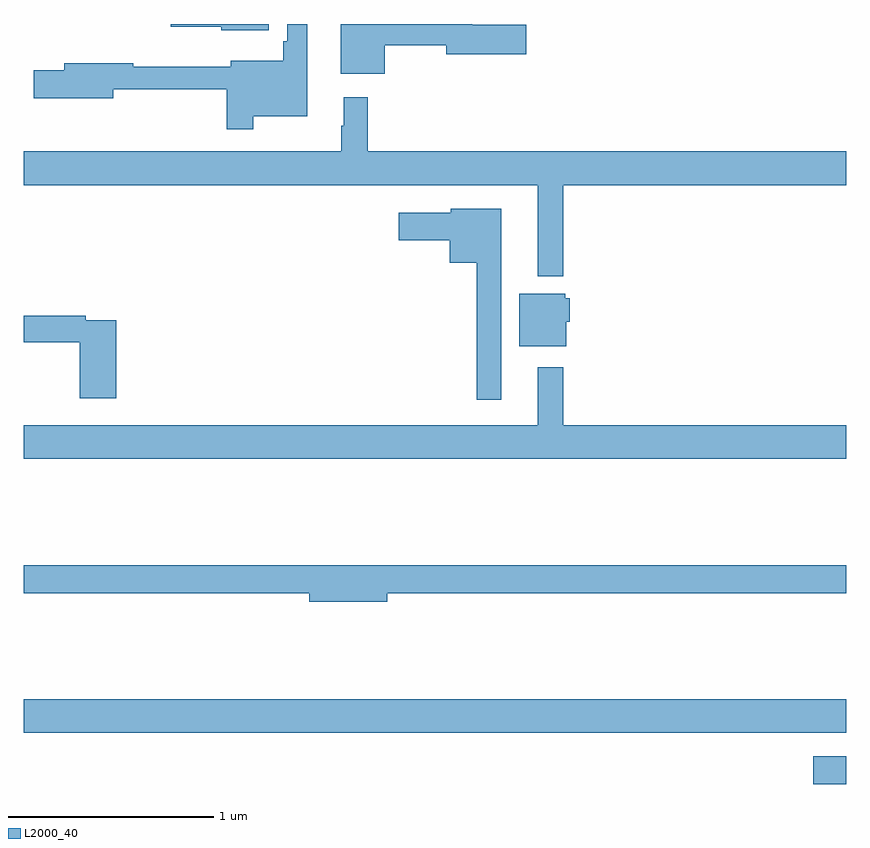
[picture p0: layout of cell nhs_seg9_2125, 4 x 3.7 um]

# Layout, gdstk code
import gdstk
lib = gdstk.Library(unit=1e-6, precision=1e-09)
def R(c, l, rs):  # rectangles x0, y0, x1, y1
    for r in rs: c.add(gdstk.rectangle(r[:2], r[2:], *l))
def P(c, l, *ps):  # polygons
    for p in ps: c.add(gdstk.Polygon(p, *l))
L2000_40 = (2000, 40)

nhs_seg9_2125 = lib.new_cell('nhs_seg9_2125')
R(nhs_seg9_2125, L2000_40, [(234.84,1230.803,235,1230.937), (231,1231.052,235,1231.216)])
P(nhs_seg9_2125, L2000_40, [(232.756,1234.396),(233.054,1234.396),(233.054,1234.354),(233.443,1234.354),(233.443,1234.496),(233.182,1234.496),(233.182,1234.5),(232.541,1234.5),(232.541,1234.259),(232.756,1234.259)],
  [(232.192,1234.5),(231.714,1234.5),(231.714,1234.487),(231.96,1234.487),(231.96,1234.469),(232.192,1234.469)],
  [(232.117,1234.052),(232.378,1234.052),(232.378,1234.5),(232.281,1234.5),(232.281,1234.417),(232.261,1234.417),(232.261,1234.321),(232.007,1234.321),(232.007,1234.292),(231.532,1234.292),(231.532,1234.31),(231.197,1234.31),(231.197,1234.274),(231.048,1234.274),(231.048,1234.139),(231.436,1234.139),(231.436,1234.182),(231.988,1234.182),(231.988,1233.987),(232.117,1233.987)],
  [(233.623,1233.716),(235,1233.716),(235,1233.88),(232.673,1233.88),(232.673,1234.144),(232.556,1234.144),(232.556,1234.004),(232.545,1234.004),(232.545,1233.88),(231,1233.88),(231,1233.716),(233.501,1233.716),(233.501,1233.272),(233.623,1233.272)],
  [(233.323,1233.601),(233.076,1233.601),(233.076,1233.583),(232.824,1233.583),(232.824,1233.449),(233.072,1233.449),(233.072,1233.338),(233.202,1233.338),(233.202,1232.673),(233.323,1232.673)],
  [(233.638,1233.051),(233.656,1233.051),(233.656,1233.165),(233.634,1233.165),(233.634,1233.187),(233.411,1233.187),(233.411,1232.933),(233.638,1232.933)],
  [(231.449,1233.06),(231.302,1233.06),(231.302,1233.08),(231,1233.08),(231,1232.952),(231.271,1232.952),(231.271,1232.679),(231.449,1232.679)],
  [(235,1232.548),(233.623,1232.548),(233.623,1232.83),(233.501,1232.83),(233.501,1232.548),(231,1232.548),(231,1232.384),(235,1232.384)],
  [(232.768,1231.732),(235,1231.732),(235,1231.868),(231,1231.868),(231,1231.732),(232.388,1231.732),(232.388,1231.69),(232.768,1231.69)])

lib.write_gds('nhs_seg9_2125.gds')
